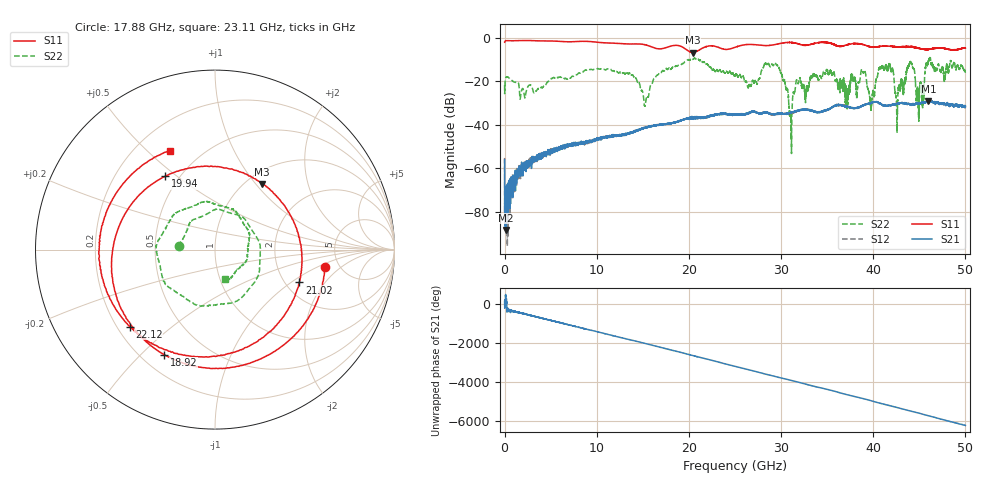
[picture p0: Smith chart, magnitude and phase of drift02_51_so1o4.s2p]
!Created with skrf (http://scikit-rf.org).
# Hz S RI R 50.0
!freq ReS11 ImS11 ReS21 ImS21 ReS12 ImS12 ReS22 ImS22
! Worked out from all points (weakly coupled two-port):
!   10001 points, 300 kHz to 50 GHz, reference 50 ohm
!   highest |S21| = -29.09 dB at 46 GHz (marker M1); lowest = -88.3 dB at 130.3 MHz (marker M2)
!   lowest |S11| = -6.9 dB at 20.44 GHz (marker M3), VSWR 2.64, Z = 58.7 + j54 ohm
!   |S11| at or under -10 dB: nowhere
!   |S22| runs from -53.2 to -9.0 dB; largest |S21 - S12| = 0.0032
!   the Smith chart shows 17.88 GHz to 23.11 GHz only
!   S11 on the Smith chart (normalised r, x): 17.88 GHz: 3.84, -1.25; 18.92 GHz: 0.29, -0.59; 19.94 GHz: 0.42, +0.45; 21.02 GHz: 2.37, -1.16; 22.12 GHz: 0.25, -0.36; 23.11 GHz: 0.34, +0.59
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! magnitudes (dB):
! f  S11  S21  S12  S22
! 300 kHz  -2.1  -56.0  -55.2  -21.8
! 130.3 MHz  -1.5  -88.3  -79.9  -18.4
! 8.335 GHz  -1.7  -48.6  -48.5  -15.7
! 15.33 GHz  -3.4  -41.2  -41.0  -29.1
! 16.67 GHz  -5.2  -40.3  -40.1  -17.0
! 17.88 GHz  -4.1  -39.5  -39.3  -13.8
! 18.92 GHz  -3.7  -38.1  -38.4  -12.5
! 19.94 GHz  -6.1  -37.2  -37.1  -10.1
! 20.44 GHz  -6.9  -37.1  -37.1  -10.0
! 21.02 GHz  -6.0  -37.0  -37.0  -9.8
! 22.12 GHz  -3.9  -36.2  -36.2  -13.0
! 23.11 GHz  -4.3  -35.4  -35.2  -15.2
! 25 GHz  -4.5  -35.4  -35.6  -17.5
! 29.51 GHz  -3.1  -34.9  -35.2  -12.4
! 31.04 GHz  -2.3  -34.6  -34.6  -35.3
! 33.34 GHz  -3.1  -33.4  -33.5  -18.1
! 39.86 GHz  -4.4  -29.7  -29.9  -28.1
! 41.67 GHz  -3.9  -30.9  -31.1  -13.2
! 44.18 GHz  -4.2  -30.6  -30.7  -11.9
! 44.85 GHz  -4.9  -30.2  -30.2  -25.0
! 46 GHz  -5.3  -29.1  -29.2  -10.7
! 50 GHz  -4.8  -31.8  -31.7  -15.8
